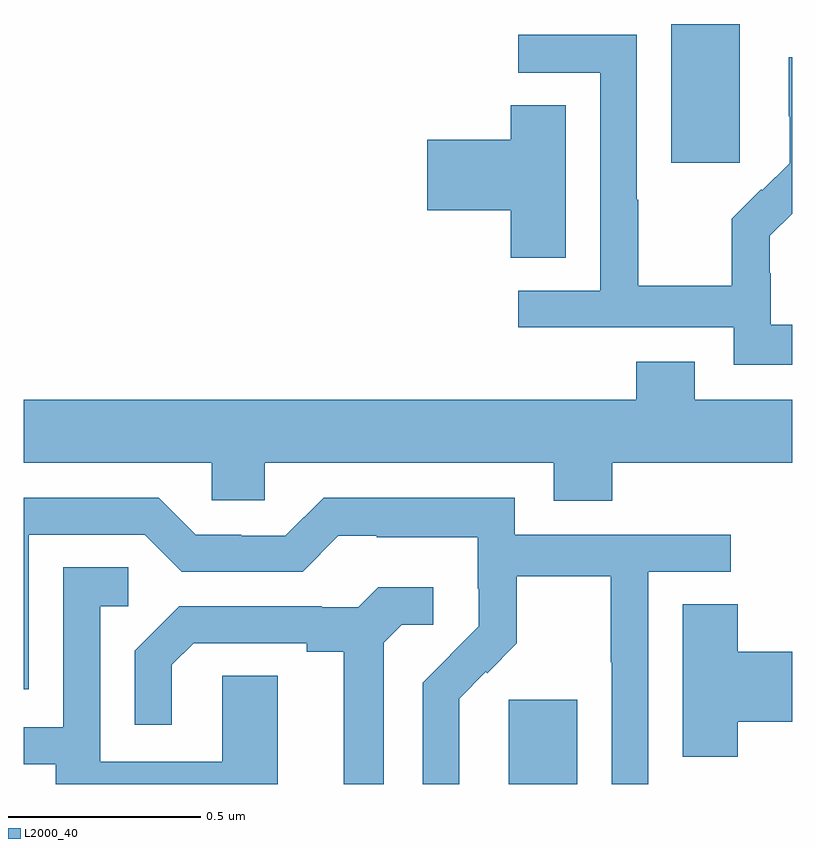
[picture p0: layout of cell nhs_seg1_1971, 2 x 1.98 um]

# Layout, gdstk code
import gdstk
lib = gdstk.Library(unit=1e-6, precision=1e-09)
def R(c, l, rs):  # rectangles x0, y0, x1, y1
    for r in rs: c.add(gdstk.rectangle(r[:2], r[2:], *l))
def P(c, l, *ps):  # polygons
    for p in ps: c.add(gdstk.Polygon(p, *l))
L2000_40 = (2000, 40)

nhs_seg1_1971 = lib.new_cell('nhs_seg1_1971')
R(nhs_seg1_1971, L2000_40, [(136.262,580.199,136.441,580.419), (136.685,581.817,136.864,582.178)])
P(nhs_seg1_1971, L2000_40, [(137,581.395),(136.944,581.395),(136.944,581.529),(136.942,581.529),(136.942,581.626),(137,581.684),(137,582.092),(136.992,582.092),(136.992,581.938),(136.994,581.938),(136.994,581.816),(136.923,581.745),(136.92,581.748),(136.843,581.671),(136.843,581.497),(136.599,581.497),(136.599,581.72),(136.596,581.72),(136.596,582.15),(136.287,582.15),(136.287,582.051),(136.5,582.051),(136.5,581.484),(136.287,581.484),(136.287,581.388),(136.848,581.388),(136.848,581.291),(137,581.291)],
  [(136.411,581.966),(136.268,581.966),(136.268,581.876),(136.05,581.876),(136.05,581.693),(136.268,581.693),(136.268,581.569),(136.411,581.569)],
  [(136.532,581.036),(137,581.036),(137,581.2),(136.747,581.2),(136.747,581.299),(136.595,581.299),(136.595,581.2),(135,581.2),(135,581.036),(135.489,581.036),(135.489,580.938),(135.627,580.938),(135.627,581.036),(136.379,581.036),(136.379,580.937),(136.532,580.937)],
  [(136.134,580.298),(136.133,580.298),(136.133,580.421),(136.203,580.491),(136.206,580.488),(136.283,580.565),(136.283,580.74),(136.528,580.74),(136.528,580.516),(136.53,580.516),(136.53,580.199),(136.626,580.199),(136.626,580.752),(136.84,580.752),(136.84,580.848),(136.278,580.848),(136.278,580.945),(135.781,580.945),(135.681,580.845),(135.566,580.845),(135.566,580.848),(135.447,580.848),(135.351,580.944),(135,580.944),(135,580.446),(135.012,580.446),(135.012,580.848),(135.315,580.848),(135.411,580.752),(135.726,580.752),(135.819,580.845),(135.919,580.845),(135.919,580.841),(136.182,580.841),(136.182,580.707),(136.184,580.707),(136.184,580.61),(136.11,580.536),(136.111,580.535),(136.038,580.462),(136.038,580.199),(136.134,580.199)],
  [(135.661,580.481),(135.516,580.481),(135.516,580.257),(135.198,580.257),(135.198,580.662),(135.271,580.662),(135.271,580.763),(135.102,580.763),(135.102,580.347),(135,580.347),(135,580.251),(135.083,580.251),(135.083,580.199),(135.661,580.199)],
  [(135.937,580.567),(135.984,580.614),(136.066,580.614),(136.066,580.711),(135.922,580.711),(135.87,580.659),(135.776,580.659),(135.776,580.662),(135.404,580.662),(135.288,580.546),(135.288,580.353),(135.385,580.353),(135.385,580.509),(135.442,580.566),(135.737,580.566),(135.737,580.544),(135.833,580.544),(135.833,580.199),(135.937,580.199)],
  [(136.859,580.361),(137,580.361),(137,580.544),(136.859,580.544),(136.859,580.667),(136.715,580.667),(136.715,580.27),(136.859,580.27)])

lib.write_gds('nhs_seg1_1971.gds')
